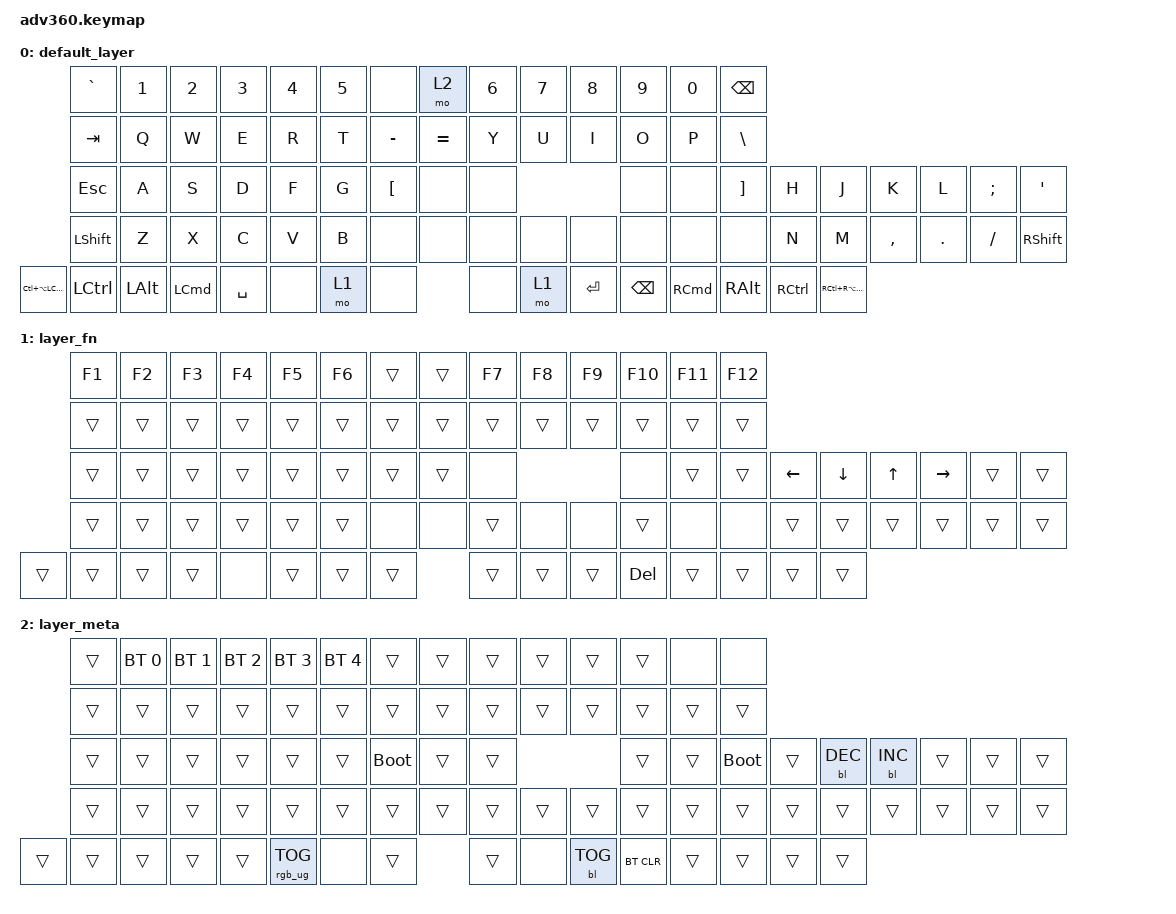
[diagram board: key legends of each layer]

/*
 * Copyright (c) 2020 The ZMK Contributors
 *
 * SPDX-License-Identifier: MIT
 */


/* THIS FILE WAS GENERATED!
 *
 * This file was generated automatically. You may or may not want to
 * edit it directly.
 */

#include <behaviors.dtsi>
#include <dt-bindings/zmk/keys.h>
#include <dt-bindings/zmk/bt.h>
#include <dt-bindings/zmk/backlight.h>
#include <dt-bindings/zmk/rgb.h>

/ {
  behaviors {
    #include "macros.dtsi"
    #include "version.dtsi"

    hm: homerow_mods {
        compatible = "zmk,behavior-hold-tap";
        label = "HOMEROW_MODS";
        #binding-cells = <2>;
        tapping-term-ms = <200>;
        quick_tap_ms = <175>;
        flavor = "tap-preferred";
        bindings = <&kp>, <&kp>;
    };
  };

    keymap {
        compatible = "zmk,keymap";


        default_layer {
            bindings = <
                &kp GRAVE            &kp N1        &kp N2            &kp N3     &kp N4  &kp N5                       &none      &mo 2  &kp N6  &kp N7     &kp N8         &kp N9             &kp N0      &kp BACKSPACE
                  &kp TAB             &kp Q         &kp W             &kp E      &kp R   &kp T                   &kp MINUS  &kp EQUAL   &kp Y   &kp U      &kp I          &kp O              &kp P           &kp BSLH
                  &kp ESC             &kp A         &kp S             &kp D      &kp F   &kp G            &kp LEFT_BRACKET      &none   &none                             &none              &none  &kp RIGHT_BRACKET              &kp H                      &kp J      &kp K    &kp L  &kp SEMI    &kp SQT
                &kp LSHFT             &kp Z         &kp X             &kp C      &kp V   &kp B                       &none      &none   &none   &none      &none          &none              &none              &none              &kp N                      &kp M  &kp COMMA  &kp DOT  &kp FSLH  &kp RSHFT
 &kp LC(LA(LEFT_COMMAND))  &kp LEFT_CONTROL  &kp LEFT_ALT  &kp LEFT_COMMAND  &kp SPACE   &none                       &mo 1      &none   &none   &mo 1  &kp ENTER  &kp BACKSPACE  &kp RIGHT_COMMAND      &kp RIGHT_ALT  &kp RIGHT_CONTROL  &kp RC(RA(RIGHT_COMMAND))
            >;
        };

        layer_fn {
            bindings = <
 &kp F1  &kp F2  &kp F3  &kp F4  &kp F5  &kp F6            &trans  &trans  &kp F7  &kp F8  &kp F9     &kp F10  &kp F11  &kp F12
 &trans  &trans  &trans  &trans  &trans  &trans            &trans  &trans  &trans  &trans  &trans      &trans   &trans   &trans
 &trans  &trans  &trans  &trans  &trans  &trans            &trans  &trans   &none                       &none   &trans   &trans  &kp LEFT_ARROW  &kp DOWN_ARROW  &kp UP_ARROW  &kp RIGHT_ARROW  &trans  &trans
 &trans  &trans  &trans  &trans  &trans  &trans             &none   &none  &trans   &none   &none      &trans    &none    &none          &trans          &trans        &trans           &trans  &trans  &trans
 &trans  &trans  &trans  &trans   &none  &trans            &trans  &trans  &trans  &trans  &trans  &kp DELETE   &trans   &trans          &trans          &trans
            >;
        };

        layer_meta {
            bindings = <
 &trans  &bt BT_SEL 0  &bt BT_SEL 1  &bt BT_SEL 2  &bt BT_SEL 3     &bt BT_SEL 4                 &trans  &trans  &trans  &trans      &trans      &trans   &none        &none
 &trans        &trans        &trans        &trans        &trans           &trans                 &trans  &trans  &trans  &trans      &trans      &trans  &trans       &trans
 &trans        &trans        &trans        &trans        &trans           &trans            &bootloader  &trans  &trans                          &trans  &trans  &bootloader  &trans  &bl BL_DEC  &bl BL_INC  &trans  &trans  &trans
 &trans        &trans        &trans        &trans        &trans           &trans                 &trans  &trans  &trans  &trans      &trans      &trans  &trans       &trans  &trans      &trans      &trans  &trans  &trans  &trans
 &trans        &trans        &trans        &trans        &trans  &rgb_ug RGB_TOG                  &none  &trans  &trans   &none  &bl BL_TOG  &bt BT_CLR  &trans       &trans  &trans      &trans
            >;
        };

    };
};
